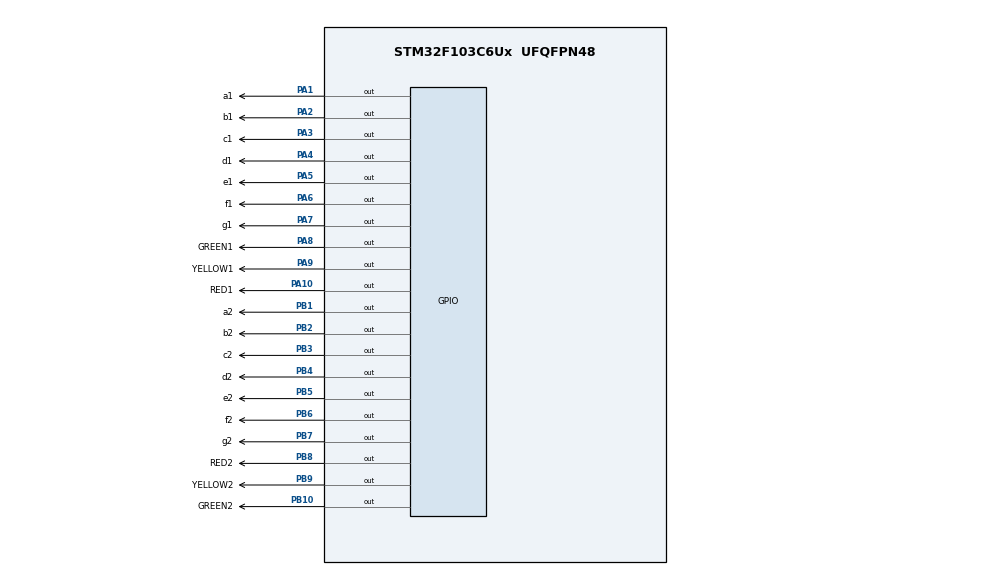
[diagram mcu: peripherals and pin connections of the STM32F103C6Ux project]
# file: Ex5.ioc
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Mcu.Family=STM32F1
Mcu.Name=STM32F103C6Ux
Mcu.Package=UFQFPN48
NVIC.PriorityGroup=NVIC_PRIORITYGROUP_4
PA1.GPIO_Label=a1
PA1.Signal=GPIO_Output
PA10.GPIO_Label=RED1
PA10.Signal=GPIO_Output
PA2.GPIO_Label=b1
PA2.Signal=GPIO_Output
PA3.GPIO_Label=c1
PA3.Signal=GPIO_Output
PA4.GPIO_Label=d1
PA4.Signal=GPIO_Output
PA5.GPIO_Label=e1
PA5.Signal=GPIO_Output
PA6.GPIO_Label=f1
PA6.Signal=GPIO_Output
PA7.GPIO_Label=g1
PA7.Signal=GPIO_Output
PA8.GPIO_Label=GREEN1
PA8.Signal=GPIO_Output
PA9.GPIO_Label=YELLOW1
PA9.Signal=GPIO_Output
PB1.GPIO_Label=a2
PB1.Signal=GPIO_Output
PB10.GPIO_Label=GREEN2
PB10.Signal=GPIO_Output
PB2.GPIO_Label=b2
PB2.Signal=GPIO_Output
PB3.GPIO_Label=c2
PB3.Signal=GPIO_Output
PB4.GPIO_Label=d2
PB4.Signal=GPIO_Output
PB5.GPIO_Label=e2
PB5.Signal=GPIO_Output
PB6.GPIO_Label=f2
PB6.Signal=GPIO_Output
PB7.GPIO_Label=g2
PB7.Signal=GPIO_Output
PB8.GPIO_Label=RED2
PB8.Signal=GPIO_Output
PB9.GPIO_Label=YELLOW2
PB9.Signal=GPIO_Output
ProjectManager.HeapSize=0x200
ProjectManager.StackSize=0x400
ProjectManager.TargetToolchain=STM32CubeIDE
RCC.APB1Freq_Value=8000000
RCC.APB2Freq_Value=8000000
VP_SYS_VS_ND.Mode=No_Debug
board=custom

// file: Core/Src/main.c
/* USER CODE BEGIN Header */
/**
  ******************************************************************************
  * @file           : main.c
  * @brief          : Main program body
  ******************************************************************************
  * @attention
  *
  * <h2><center>&copy; Copyright (c) 2024 STMicroelectronics.
  * All rights reserved.</center></h2>
  *
  * This software component is licensed by ST under BSD 3-Clause license,
  * the "License"; You may not use this file except in compliance with the
  * License. You may obtain a copy of the License at:
  *                        opensource.org/licenses/BSD-3-Clause
  *
  ******************************************************************************
  */
/* USER CODE END Header */
#include "main.h"

void SystemClock_Config(void);
static void MX_GPIO_Init(void);

int main(void)
{

  /* MCU Configuration--------------------------------------------------------*/

  /* Reset of all peripherals, Initializes the Flash interface and the Systick. */
  HAL_Init();

  /* Configure the system clock */
  SystemClock_Config();

  /* Initialize all configured peripherals */
  MX_GPIO_Init();

  /* Infinite loop */
  /* USER CODE BEGIN WHILE */
  int count1 = 0;
  int count2 = 0;
  int status1 = 0;
  int status2 = 2;
  while (1)
  {
    /* USER CODE END WHILE */
	  if (count1 == 0)
	  	 	  	  {
	  	 		  	  if (status1 == 0)
	  	 		  	  {
	  	 		  		  HAL_GPIO_WritePin(RED1_GPIO_Port, RED1_Pin, 0);
	  	 		  		  HAL_GPIO_WritePin(YELLOW1_GPIO_Port, YELLOW1_Pin, 1);
	  	 		  		  HAL_GPIO_WritePin(GREEN1_GPIO_Port, GREEN1_Pin, 1);
	  	 		  		  status1 = 2;
	  	 		  		  count1 = 5;
	  	 		  	  }
	  	 		  	  else if(status1 == 1)
	  	 		  	  {
	  	 		  		  HAL_GPIO_WritePin(RED1_GPIO_Port, RED1_Pin, 1);
	  	 		  		  HAL_GPIO_WritePin(YELLOW1_GPIO_Port, YELLOW1_Pin, 0);
	  	 		  		  HAL_GPIO_WritePin(GREEN1_GPIO_Port, GREEN1_Pin, 1);
	  	 		  		  status1 = 0;
	  	 		  		  count1 = 2;
	  	 		  	  }
	  	 		  	  else if(status1 == 2)
	  	 		  	  {
	  	 		  		  HAL_GPIO_WritePin(RED1_GPIO_Port, RED1_Pin, 1);
	  	 		  		  HAL_GPIO_WritePin(YELLOW1_GPIO_Port, YELLOW1_Pin, 1);
	  	 		  		  HAL_GPIO_WritePin(GREEN1_GPIO_Port, GREEN1_Pin, 0);
	  	 		  		  status1 = 1;
	  	 		  		  count1 = 3;
	  	 		  	  }
	  	 	  	  }
	  if (count2 == 0)
		 	  	  {
		 		  	  if (status2 == 0)
		 		  	  {
		 		  		  HAL_GPIO_WritePin(RED2_GPIO_Port, RED2_Pin, 0);
		 		  		  HAL_GPIO_WritePin(YELLOW2_GPIO_Port, YELLOW2_Pin, 1);
		 		  		  HAL_GPIO_WritePin(GREEN2_GPIO_Port, GREEN2_Pin, 1);
		 		  		  status2 = 2;
		 		  		  count2 = 5;
		 		  	  }
		 		  	  else if(status2 == 1)
		 		  	  {
		 		  		  HAL_GPIO_WritePin(RED2_GPIO_Port, RED2_Pin, 1);
		 		  		  HAL_GPIO_WritePin(YELLOW2_GPIO_Port, YELLOW2_Pin, 0);
		 		  		  HAL_GPIO_WritePin(GREEN2_GPIO_Port, GREEN2_Pin, 1);
		 		  		  status2 = 0;
		 		  		  count2 = 2;
		 		  	  }
		 		  	  else if(status2 == 2)
		 		  	  {
		 		  		  HAL_GPIO_WritePin(RED2_GPIO_Port, RED2_Pin, 1);
		 		  		  HAL_GPIO_WritePin(YELLOW2_GPIO_Port, YELLOW2_Pin, 1);
		 		  		  HAL_GPIO_WritePin(GREEN2_GPIO_Port, GREEN2_Pin, 0);
		 		  		  status2 = 1;
		 		  		  count2 = 3;
		 		  	  }
		 	  	  }
	  display7SEG1(count1--);
	  display7SEG2(count2--);
	  HAL_Delay(1000);
  }
}

void SystemClock_Config(void)
{
  RCC_OscInitTypeDef RCC_OscInitStruct = {0};
  RCC_ClkInitTypeDef RCC_ClkInitStruct = {0};

  /** Initializes the RCC Oscillators according to the specified parameters
  * in the RCC_OscInitTypeDef structure.
  */
  RCC_OscInitStruct.OscillatorType = RCC_OSCILLATORTYPE_HSI;
  RCC_OscInitStruct.HSIState = RCC_HSI_ON;
  RCC_OscInitStruct.HSICalibrationValue = RCC_HSICALIBRATION_DEFAULT;
  RCC_OscInitStruct.PLL.PLLState = RCC_PLL_NONE;
  if (HAL_RCC_OscConfig(&RCC_OscInitStruct) != HAL_OK)
  {
    Error_Handler();
  }
  /** Initializes the CPU, AHB and APB buses clocks
  */
  RCC_ClkInitStruct.ClockType = RCC_CLOCKTYPE_HCLK|RCC_CLOCKTYPE_SYSCLK
                              |RCC_CLOCKTYPE_PCLK1|RCC_CLOCKTYPE_PCLK2;
  RCC_ClkInitStruct.SYSCLKSource = RCC_SYSCLKSOURCE_HSI;
  RCC_ClkInitStruct.AHBCLKDivider = RCC_SYSCLK_DIV1;
  RCC_ClkInitStruct.APB1CLKDivider = RCC_HCLK_DIV1;
  RCC_ClkInitStruct.APB2CLKDivider = RCC_HCLK_DIV1;

  if (HAL_RCC_ClockConfig(&RCC_ClkInitStruct, FLASH_LATENCY_0) != HAL_OK)
  {
    Error_Handler();
  }
}

static void MX_GPIO_Init(void)
{
  GPIO_InitTypeDef GPIO_InitStruct = {0};

  /* GPIO Ports Clock Enable */
  __HAL_RCC_GPIOA_CLK_ENABLE();
  __HAL_RCC_GPIOB_CLK_ENABLE();

  /*Configure GPIO pin Output Level */
  HAL_GPIO_WritePin(GPIOA, a1_Pin|b1_Pin|c1_Pin|d1_Pin
                          |e1_Pin|f1_Pin|g1_Pin|GREEN1_Pin
                          |YELLOW1_Pin|RED1_Pin, GPIO_PIN_RESET);

  /*Configure GPIO pin Output Level */
  HAL_GPIO_WritePin(GPIOB, a2_Pin|b2_Pin|GREEN2_Pin|c2_Pin
                          |d2_Pin|e2_Pin|f2_Pin|g2_Pin
                          |RED2_Pin|YELLOW2_Pin, GPIO_PIN_RESET);

  /*Configure GPIO pins : a1_Pin b1_Pin c1_Pin d1_Pin
                           e1_Pin f1_Pin g1_Pin GREEN1_Pin
                           YELLOW1_Pin RED1_Pin */
  GPIO_InitStruct.Pin = a1_Pin|b1_Pin|c1_Pin|d1_Pin
                          |e1_Pin|f1_Pin|g1_Pin|GREEN1_Pin
                          |YELLOW1_Pin|RED1_Pin;
  GPIO_InitStruct.Mode = GPIO_MODE_OUTPUT_PP;
  GPIO_InitStruct.Pull = GPIO_NOPULL;
  GPIO_InitStruct.Speed = GPIO_SPEED_FREQ_LOW;
  HAL_GPIO_Init(GPIOA, &GPIO_InitStruct);

  /*Configure GPIO pins : a2_Pin b2_Pin GREEN2_Pin c2_Pin
                           d2_Pin e2_Pin f2_Pin g2_Pin
                           RED2_Pin YELLOW2_Pin */
  GPIO_InitStruct.Pin = a2_Pin|b2_Pin|GREEN2_Pin|c2_Pin
                          |d2_Pin|e2_Pin|f2_Pin|g2_Pin
                          |RED2_Pin|YELLOW2_Pin;
  GPIO_InitStruct.Mode = GPIO_MODE_OUTPUT_PP;
  GPIO_InitStruct.Pull = GPIO_NOPULL;
  GPIO_InitStruct.Speed = GPIO_SPEED_FREQ_LOW;
  HAL_GPIO_Init(GPIOB, &GPIO_InitStruct);

}

/* USER CODE BEGIN 4 */
void display7SEG1(int num){
	if(num == 0){
		HAL_GPIO_WritePin(a1_GPIO_Port, a1_Pin, 0);
		HAL_GPIO_WritePin(b1_GPIO_Port, b1_Pin, 0);
		HAL_GPIO_WritePin(c1_GPIO_Port, c1_Pin, 0);
		HAL_GPIO_WritePin(d1_GPIO_Port, d1_Pin, 0);
		HAL_GPIO_WritePin(e1_GPIO_Port, e1_Pin, 0);
		HAL_GPIO_WritePin(f1_GPIO_Port, f1_Pin, 0);
		HAL_GPIO_WritePin(g1_GPIO_Port, g1_Pin, 1);
	}
	if(num == 1){
		HAL_GPIO_WritePin(a1_GPIO_Port, a1_Pin, 1);
		HAL_GPIO_WritePin(b1_GPIO_Port, b1_Pin, 0);
		HAL_GPIO_WritePin(c1_GPIO_Port, c1_Pin, 0);
		HAL_GPIO_WritePin(d1_GPIO_Port, d1_Pin, 1);
		HAL_GPIO_WritePin(e1_GPIO_Port, e1_Pin, 1);
		HAL_GPIO_WritePin(f1_GPIO_Port, f1_Pin, 1);
		HAL_GPIO_WritePin(g1_GPIO_Port, g1_Pin, 1);
	}
	if(num == 2){
		HAL_GPIO_WritePin(a1_GPIO_Port, a1_Pin, 0);
		HAL_GPIO_WritePin(b1_GPIO_Port, b1_Pin, 0);
		HAL_GPIO_WritePin(c1_GPIO_Port, c1_Pin, 1);
		HAL_GPIO_WritePin(d1_GPIO_Port, d1_Pin, 0);
		HAL_GPIO_WritePin(e1_GPIO_Port, e1_Pin, 0);
		HAL_GPIO_WritePin(f1_GPIO_Port, f1_Pin, 1);
		HAL_GPIO_WritePin(g1_GPIO_Port, g1_Pin, 0);
	}
	if(num == 3){
		HAL_GPIO_WritePin(a1_GPIO_Port, a1_Pin, 0);
		HAL_GPIO_WritePin(b1_GPIO_Port, b1_Pin, 0);
		HAL_GPIO_WritePin(c1_GPIO_Port, c1_Pin, 0);
		HAL_GPIO_WritePin(d1_GPIO_Port, d1_Pin, 0);
		HAL_GPIO_WritePin(e1_GPIO_Port, e1_Pin, 1);
		HAL_GPIO_WritePin(f1_GPIO_Port, f1_Pin, 1);
		HAL_GPIO_WritePin(g1_GPIO_Port, g1_Pin, 0);
	}
	if(num == 4){
		HAL_GPIO_WritePin(a1_GPIO_Port, a1_Pin, 1);
		HAL_GPIO_WritePin(b1_GPIO_Port, b1_Pin, 0);
		HAL_GPIO_WritePin(c1_GPIO_Port, c1_Pin, 0);
		HAL_GPIO_WritePin(d1_GPIO_Port, d1_Pin, 1);
		HAL_GPIO_WritePin(e1_GPIO_Port, e1_Pin, 1);
		HAL_GPIO_WritePin(f1_GPIO_Port, f1_Pin, 0);
		HAL_GPIO_WritePin(g1_GPIO_Port, g1_Pin, 0);
	}
	if(num == 5){
		HAL_GPIO_WritePin(a1_GPIO_Port, a1_Pin, 0);
		HAL_GPIO_WritePin(b1_GPIO_Port, b1_Pin, 1);
		HAL_GPIO_WritePin(c1_GPIO_Port, c1_Pin, 0);
		HAL_GPIO_WritePin(d1_GPIO_Port, d1_Pin, 0);
		HAL_GPIO_WritePin(e1_GPIO_Port, e1_Pin, 1);
		HAL_GPIO_WritePin(f1_GPIO_Port, f1_Pin, 0);
		HAL_GPIO_WritePin(g1_GPIO_Port, g1_Pin, 0);
	}
	if(num == 6){
		HAL_GPIO_WritePin(a1_GPIO_Port, a1_Pin, 0);
		HAL_GPIO_WritePin(b1_GPIO_Port, b1_Pin, 1);
		HAL_GPIO_WritePin(c1_GPIO_Port, c1_Pin, 0);
		HAL_GPIO_WritePin(d1_GPIO_Port, d1_Pin, 0);
		HAL_GPIO_WritePin(e1_GPIO_Port, e1_Pin, 0);
		HAL_GPIO_WritePin(f1_GPIO_Port, f1_Pin, 0);
		HAL_GPIO_WritePin(g1_GPIO_Port, g1_Pin, 0);
	}
	if(num == 7){
		HAL_GPIO_WritePin(a1_GPIO_Port, a1_Pin, 0);
		HAL_GPIO_WritePin(b1_GPIO_Port, b1_Pin, 0);
		HAL_GPIO_WritePin(c1_GPIO_Port, c1_Pin, 0);
		HAL_GPIO_WritePin(d1_GPIO_Port, d1_Pin, 1);
		HAL_GPIO_WritePin(e1_GPIO_Port, e1_Pin, 1);
		HAL_GPIO_WritePin(f1_GPIO_Port, f1_Pin, 1);
		HAL_GPIO_WritePin(g1_GPIO_Port, g1_Pin, 1);
	}
	if(num == 8){
		HAL_GPIO_WritePin(a1_GPIO_Port, a1_Pin, 0);
		HAL_GPIO_WritePin(b1_GPIO_Port, b1_Pin, 0);
		HAL_GPIO_WritePin(c1_GPIO_Port, c1_Pin, 0);
		HAL_GPIO_WritePin(d1_GPIO_Port, d1_Pin, 0);
		HAL_GPIO_WritePin(e1_GPIO_Port, e1_Pin, 0);
		HAL_GPIO_WritePin(f1_GPIO_Port, f1_Pin, 0);
		HAL_GPIO_WritePin(g1_GPIO_Port, g1_Pin, 0);
	}
	if(num == 9){
		HAL_GPIO_WritePin(a1_GPIO_Port, a1_Pin, 0);
		HAL_GPIO_WritePin(b1_GPIO_Port, b1_Pin, 0);
		HAL_GPIO_WritePin(c1_GPIO_Port, c1_Pin, 0);
		HAL_GPIO_WritePin(d1_GPIO_Port, d1_Pin, 0);
		HAL_GPIO_WritePin(e1_GPIO_Port, e1_Pin, 1);
		HAL_GPIO_WritePin(f1_GPIO_Port, f1_Pin, 0);
		HAL_GPIO_WritePin(g1_GPIO_Port, g1_Pin, 0);
	}
}
void display7SEG2(int num){
	if(num == 0){
		HAL_GPIO_WritePin(a2_GPIO_Port, a2_Pin, 0);
		HAL_GPIO_WritePin(b2_GPIO_Port, b2_Pin, 0);
		HAL_GPIO_WritePin(c2_GPIO_Port, c2_Pin, 0);
		HAL_GPIO_WritePin(d2_GPIO_Port, d2_Pin, 0);
		HAL_GPIO_WritePin(e2_GPIO_Port, e2_Pin, 0);
		HAL_GPIO_WritePin(f2_GPIO_Port, f2_Pin, 0);
		HAL_GPIO_WritePin(g2_GPIO_Port, g2_Pin, 1);
	}
	if(num == 1){
		HAL_GPIO_WritePin(a2_GPIO_Port, a2_Pin, 1);
		HAL_GPIO_WritePin(b2_GPIO_Port, b2_Pin, 0);
		HAL_GPIO_WritePin(c2_GPIO_Port, c2_Pin, 0);
		HAL_GPIO_WritePin(d2_GPIO_Port, d2_Pin, 1);
		HAL_GPIO_WritePin(e2_GPIO_Port, e2_Pin, 1);
		HAL_GPIO_WritePin(f2_GPIO_Port, f2_Pin, 1);
		HAL_GPIO_WritePin(g2_GPIO_Port, g2_Pin, 1);
	}
	if(num == 2){
		HAL_GPIO_WritePin(a2_GPIO_Port, a2_Pin, 0);
		HAL_GPIO_WritePin(b2_GPIO_Port, b2_Pin, 0);
		HAL_GPIO_WritePin(c2_GPIO_Port, c2_Pin, 1);
		HAL_GPIO_WritePin(d2_GPIO_Port, d2_Pin, 0);
		HAL_GPIO_WritePin(e2_GPIO_Port, e2_Pin, 0);
		HAL_GPIO_WritePin(f2_GPIO_Port, f2_Pin, 1);
		HAL_GPIO_WritePin(g2_GPIO_Port, g2_Pin, 0);
	}
	if(num == 3){
		HAL_GPIO_WritePin(a2_GPIO_Port, a2_Pin, 0);
		HAL_GPIO_WritePin(b2_GPIO_Port, b2_Pin, 0);
		HAL_GPIO_WritePin(c2_GPIO_Port, c2_Pin, 0);
		HAL_GPIO_WritePin(d2_GPIO_Port, d2_Pin, 0);
		HAL_GPIO_WritePin(e2_GPIO_Port, e2_Pin, 1);
		HAL_GPIO_WritePin(f2_GPIO_Port, f2_Pin, 1);
		HAL_GPIO_WritePin(g2_GPIO_Port, g2_Pin, 0);
	}
	if(num == 4){
		HAL_GPIO_WritePin(a2_GPIO_Port, a2_Pin, 1);
		HAL_GPIO_WritePin(b2_GPIO_Port, b2_Pin, 0);
		HAL_GPIO_WritePin(c2_GPIO_Port, c2_Pin, 0);
		HAL_GPIO_WritePin(d2_GPIO_Port, d2_Pin, 1);
		HAL_GPIO_WritePin(e2_GPIO_Port, e2_Pin, 1);
		HAL_GPIO_WritePin(f2_GPIO_Port, f2_Pin, 0);
		HAL_GPIO_WritePin(g2_GPIO_Port, g2_Pin, 0);
	}
	if(num == 5){
		HAL_GPIO_WritePin(a2_GPIO_Port, a2_Pin, 0);
		HAL_GPIO_WritePin(b2_GPIO_Port, b2_Pin, 1);
		HAL_GPIO_WritePin(c2_GPIO_Port, c2_Pin, 0);
		HAL_GPIO_WritePin(d2_GPIO_Port, d2_Pin, 0);
		HAL_GPIO_WritePin(e2_GPIO_Port, e2_Pin, 1);
		HAL_GPIO_WritePin(f2_GPIO_Port, f2_Pin, 0);
		HAL_GPIO_WritePin(g2_GPIO_Port, g2_Pin, 0);
	}
	if(num == 6){
		HAL_GPIO_WritePin(a2_GPIO_Port, a2_Pin, 0);
		HAL_GPIO_WritePin(b2_GPIO_Port, b2_Pin, 1);
		HAL_GPIO_WritePin(c2_GPIO_Port, c2_Pin, 0);
		HAL_GPIO_WritePin(d2_GPIO_Port, d2_Pin, 0);
		HAL_GPIO_WritePin(e2_GPIO_Port, e2_Pin, 0);
		HAL_GPIO_WritePin(f2_GPIO_Port, f2_Pin, 0);
		HAL_GPIO_WritePin(g2_GPIO_Port, g2_Pin, 0);
	}
	if(num == 7){
		HAL_GPIO_WritePin(a2_GPIO_Port, a2_Pin, 0);
		HAL_GPIO_WritePin(b2_GPIO_Port, b2_Pin, 0);
		HAL_GPIO_WritePin(c2_GPIO_Port, c2_Pin, 0);
		HAL_GPIO_WritePin(d2_GPIO_Port, d2_Pin, 1);
		HAL_GPIO_WritePin(e2_GPIO_Port, e2_Pin, 1);
		HAL_GPIO_WritePin(f2_GPIO_Port, f2_Pin, 1);
		HAL_GPIO_WritePin(g2_GPIO_Port, g2_Pin, 1);
	}
	if(num == 8){
		HAL_GPIO_WritePin(a2_GPIO_Port, a2_Pin, 0);
		HAL_GPIO_WritePin(b2_GPIO_Port, b2_Pin, 0);
		HAL_GPIO_WritePin(c2_GPIO_Port, c2_Pin, 0);
		HAL_GPIO_WritePin(d2_GPIO_Port, d2_Pin, 0);
		HAL_GPIO_WritePin(e2_GPIO_Port, e2_Pin, 0);
		HAL_GPIO_WritePin(f2_GPIO_Port, f2_Pin, 0);
		HAL_GPIO_WritePin(g2_GPIO_Port, g2_Pin, 0);
	}
	if(num == 9){
		HAL_GPIO_WritePin(a2_GPIO_Port, a2_Pin, 0);
		HAL_GPIO_WritePin(b2_GPIO_Port, b2_Pin, 0);
		HAL_GPIO_WritePin(c2_GPIO_Port, c2_Pin, 0);
		HAL_GPIO_WritePin(d2_GPIO_Port, d2_Pin, 0);
		HAL_GPIO_WritePin(e2_GPIO_Port, e2_Pin, 1);
		HAL_GPIO_WritePin(f2_GPIO_Port, f2_Pin, 0);
		HAL_GPIO_WritePin(g2_GPIO_Port, g2_Pin, 0);
	}
}
/* USER CODE END 4 */

void Error_Handler(void)
{
  __disable_irq();
  while (1)
  {
  }
}

/************************ (C) COPYRIGHT STMicroelectronics *****END OF FILE****/
